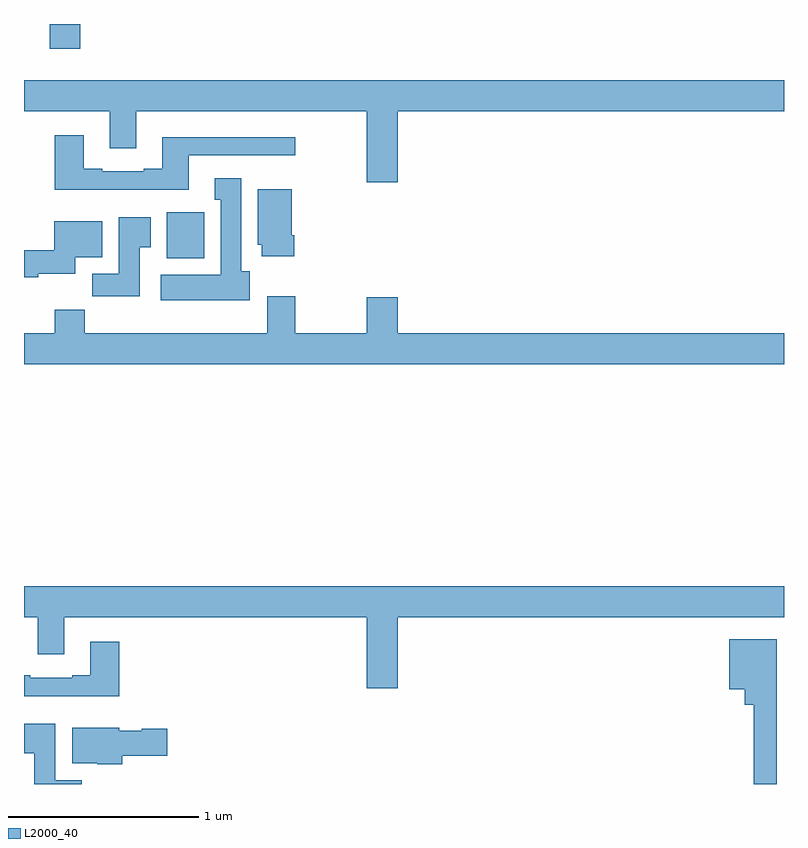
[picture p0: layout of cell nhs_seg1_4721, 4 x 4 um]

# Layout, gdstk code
import gdstk
lib = gdstk.Library(unit=1e-6, precision=1e-09)
def R(c, l, rs):  # rectangles x0, y0, x1, y1
    for r in rs: c.add(gdstk.rectangle(r[:2], r[2:], *l))
def P(c, l, *ps):  # polygons
    for p in ps: c.add(gdstk.Polygon(p, *l))
L2000_40 = (2000, 40)

nhs_seg1_4721 = lib.new_cell('nhs_seg1_4721')
R(nhs_seg1_4721, L2000_40, [(367.751,542.966,367.948,543.208), (367.136,544.068,367.295,544.199)])
P(nhs_seg1_4721, L2000_40, [(368.968,543.74),(371,543.74),(371,543.904),(367,543.904),(367,543.74),(367.451,543.74),(367.451,543.546),(367.591,543.546),(367.591,543.74),(368.804,543.74),(368.804,543.366),(368.968,543.366)],
  [(367.867,543.507),(368.428,543.507),(368.428,543.604),(367.727,543.604),(367.727,543.436),(367.631,543.436),(367.631,543.423),(367.411,543.423),(367.411,543.436),(367.315,543.436),(367.315,543.613),(367.163,543.613),(367.163,543.326),(367.867,543.326)],
  [(368.188,542.898),(368.143,542.898),(368.143,543.388),(368.003,543.388),(368.003,543.275),(368.036,543.275),(368.036,542.878),(367.719,542.878),(367.719,542.744),(368.188,542.744)],
  [(368.423,543.088),(368.41,543.088),(368.41,543.328),(368.231,543.328),(368.231,543.036),(368.252,543.036),(368.252,542.976),(368.423,542.976)],
  [(367.609,543.025),(367.666,543.025),(367.666,543.181),(367.499,543.181),(367.499,542.884),(367.36,542.884),(367.36,542.766),(367.609,542.766)],
  [(367.074,542.885),(367.27,542.885),(367.27,542.972),(367.411,542.972),(367.411,543.16),(367.16,543.16),(367.16,543.008),(367,543.008),(367,542.866),(367.074,542.866)],
  [(371,542.572),(368.968,542.572),(368.968,542.761),(368.804,542.761),(368.804,542.572),(368.427,542.572),(368.427,542.767),(368.279,542.767),(368.279,542.572),(367.319,542.572),(367.319,542.696),(367.163,542.696),(367.163,542.572),(367,542.572),(367,542.408),(371,542.408)],
  [(368.968,541.076),(371,541.076),(371,541.24),(367,541.24),(367,541.076),(367.073,541.076),(367.073,540.882),(367.213,540.882),(367.213,541.076),(368.804,541.076),(368.804,540.702),(368.968,540.702)],
  [(370.963,540.961),(370.712,540.961),(370.712,540.698),(370.793,540.698),(370.793,540.617),(370.842,540.617),(370.842,540.199),(370.963,540.199)],
  [(367.502,540.949),(367.349,540.949),(367.349,540.772),(367.253,540.772),(367.253,540.759),(367.033,540.759),(367.033,540.772),(367,540.772),(367,540.662),(367.502,540.662)],
  [(367.304,540.22),(367.165,540.22),(367.165,540.517),(367,540.517),(367,540.361),(367.055,540.361),(367.055,540.199),(367.304,540.199)],
  [(367.517,540.349),(367.753,540.349),(367.753,540.491),(367.62,540.491),(367.62,540.478),(367.5,540.478),(367.5,540.496),(367.253,540.496),(367.253,540.308),(367.386,540.308),(367.386,540.302),(367.517,540.302)])

lib.write_gds('nhs_seg1_4721.gds')
